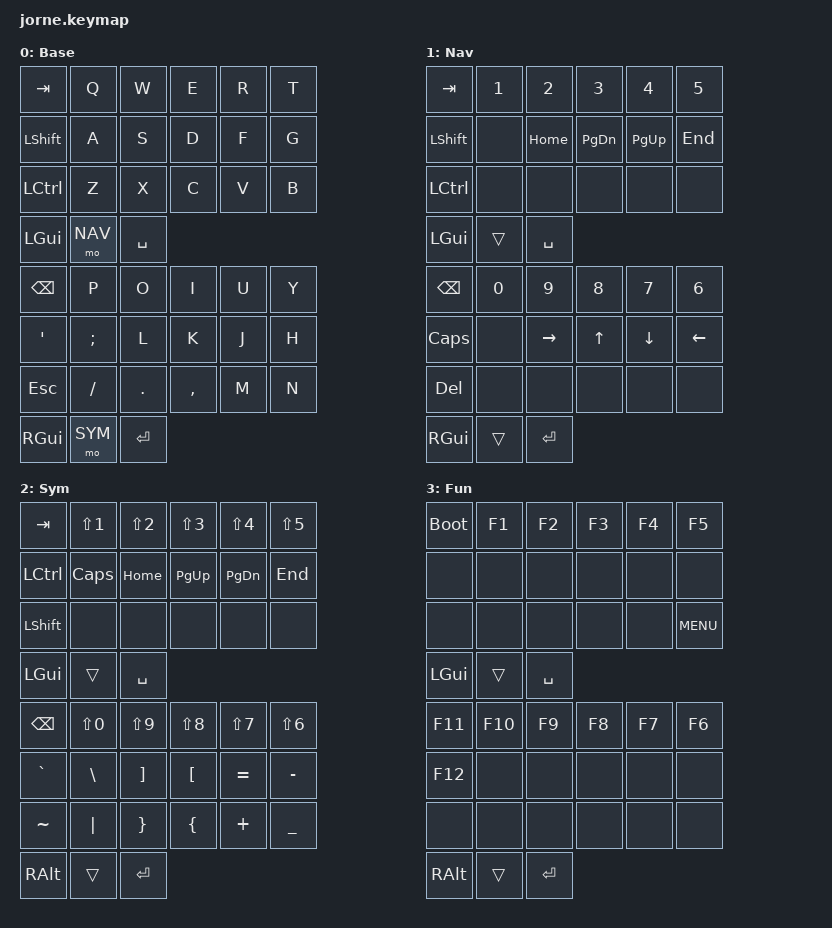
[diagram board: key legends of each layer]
#include <behaviors.dtsi>
#include <dt-bindings/zmk/keys.h>

#define BASE 0
#define NAV  1
#define SYM  2
#define FUN  3

/*
 * Port of crkbd.layout.json for the 42-key Jorne/Corne layout:
 * 18 left matrix keys, 3 left thumbs, 18 right matrix keys, 3 right thumbs.
 * The source VIA backup has six non-physical KC_NO padding slots; they are
 * deliberately omitted here.
 *
 * FN_MO13 and FN_MO23 are inferred as the momentary NAV and SYM layers.
 * The VIA export contains no binding that activates FUN.
 */

/ {
    keymap {
        compatible = "zmk,keymap";

        base_layer {
            display-name = "Base";
            bindings = <
                &kp TAB   &kp Q     &kp W     &kp E     &kp R     &kp T
                &kp LSHFT &kp A     &kp S     &kp D     &kp F     &kp G
                &kp LCTRL &kp Z     &kp X     &kp C     &kp V     &kp B
                &kp LGUI  &mo NAV   &kp SPACE

                &kp BSPC  &kp P     &kp O     &kp I     &kp U     &kp Y
                &kp APOS  &kp SEMI  &kp L     &kp K     &kp J     &kp H
                &kp ESC   &kp SLASH &kp DOT   &kp COMMA &kp M     &kp N
                &kp RGUI  &mo SYM   &kp ENTER
            >;
        };

        nav_layer {
            display-name = "Nav";
            bindings = <
                &kp TAB   &kp N1    &kp N2    &kp N3    &kp N4    &kp N5
                &kp LSHFT &none     &kp HOME  &kp PG_DN &kp PG_UP &kp END
                &kp LCTRL &none     &none     &none     &none     &none
                &kp LGUI  &trans    &kp SPACE

                &kp BSPC  &kp N0    &kp N9    &kp N8    &kp N7    &kp N6
                &kp CAPS  &none     &kp RIGHT &kp UP    &kp DOWN  &kp LEFT
                &kp DEL   &none     &none     &none     &none     &none
                &kp RGUI  &trans    &kp ENTER
            >;
        };

        sym_layer {
            display-name = "Sym";
            bindings = <
                &kp TAB   &kp LS(N1) &kp LS(N2) &kp LS(N3) &kp LS(N4) &kp LS(N5)
                &kp LCTRL &kp CAPS   &kp HOME   &kp PG_UP   &kp PG_DN   &kp END
                &kp LSHFT &none      &none      &none       &none       &none
                &kp LGUI  &trans     &kp SPACE

                &kp BSPC  &kp LS(N0) &kp LS(N9) &kp LS(N8) &kp LS(N7) &kp LS(N6)
                &kp GRAVE &kp BSLH   &kp RBKT   &kp LBKT   &kp EQUAL  &kp MINUS
                &kp TILDE &kp PIPE   &kp RBRC   &kp LBRC   &kp PLUS   &kp UNDER
                &kp RALT  &trans     &kp ENTER
            >;
        };

        fun_layer {
            display-name = "Fun";
            bindings = <
                &bootloader &kp F1  &kp F2  &kp F3  &kp F4  &kp F5
                &none       &none   &none   &none   &none   &none
                &none       &none   &none   &none   &none   &kp K_MENU
                &kp LGUI    &trans  &kp SPACE

                &kp F11     &kp F10 &kp F9  &kp F8  &kp F7  &kp F6
                &kp F12     &none   &none   &none   &none   &none
                &none       &none   &none   &none   &none   &none
                &kp RALT    &trans  &kp ENTER
            >;
        };
    };
};
